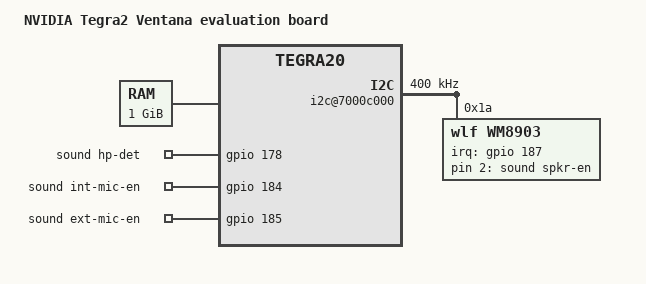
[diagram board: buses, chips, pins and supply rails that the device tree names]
/dts-v1/;

/include/ "tegra20.dtsi"

/ {
	model = "NVIDIA Tegra2 Ventana evaluation board";
	compatible = "nvidia,ventana", "nvidia,tegra20";

	memory {
		reg = < 0x00000000 0x40000000 >;
	};

	i2c@7000c000 {
		clock-frequency = <400000>;

		wm8903: wm8903@1a {
			compatible = "wlf,wm8903";
			reg = <0x1a>;
			interrupt-parent = <&gpio>;
			interrupts = < 187 0x04 >;

			gpio-controller;
			#gpio-cells = <2>;

			micdet-cfg = <0>;
			micdet-delay = <100>;
			gpio-cfg = < 0xffffffff 0xffffffff 0 0xffffffff 0xffffffff >;
		};
	};

	i2c@7000c400 {
		clock-frequency = <400000>;
	};

	i2c@7000c500 {
		clock-frequency = <400000>;
	};

	i2c@7000d000 {
		clock-frequency = <400000>;
	};

	i2s@70002a00 {
		status = "disable";
	};

	sound {
		compatible = "nvidia,tegra-audio-wm8903-ventana",
			     "nvidia,tegra-audio-wm8903";
		nvidia,model = "NVIDIA Tegra Ventana";

		nvidia,audio-routing =
			"Headphone Jack", "HPOUTR",
			"Headphone Jack", "HPOUTL",
			"Int Spk", "ROP",
			"Int Spk", "RON",
			"Int Spk", "LOP",
			"Int Spk", "LON",
			"Mic Jack", "MICBIAS",
			"IN1L", "Mic Jack";

		nvidia,i2s-controller = <&tegra_i2s1>;
		nvidia,audio-codec = <&wm8903>;

		nvidia,spkr-en-gpios = <&wm8903 2 0>;
		nvidia,hp-det-gpios = <&gpio 178 0>; /* gpio PW2 */
		nvidia,int-mic-en-gpios = <&gpio 184 0>; /*gpio PX0 */
		nvidia,ext-mic-en-gpios = <&gpio 185 0>; /* gpio PX1 */
	};

	serial@70006000 {
		status = "disable";
	};

	serial@70006040 {
		status = "disable";
	};

	serial@70006200 {
		status = "disable";
	};

	serial@70006300 {
		clock-frequency = < 216000000 >;
	};

	serial@70006400 {
		status = "disable";
	};

	sdhci@c8000000 {
		status = "disable";
	};

	sdhci@c8000200 {
		status = "disable";
	};

	sdhci@c8000400 {
		cd-gpios = <&gpio 69 0>; /* gpio PI5 */
		wp-gpios = <&gpio 57 0>; /* gpio PH1 */
		power-gpios = <&gpio 70 0>; /* gpio PI6 */
		bus-width = <4>;
	};

	sdhci@c8000600 {
		support-8bit;
		bus-width = <8>;
	};
};
